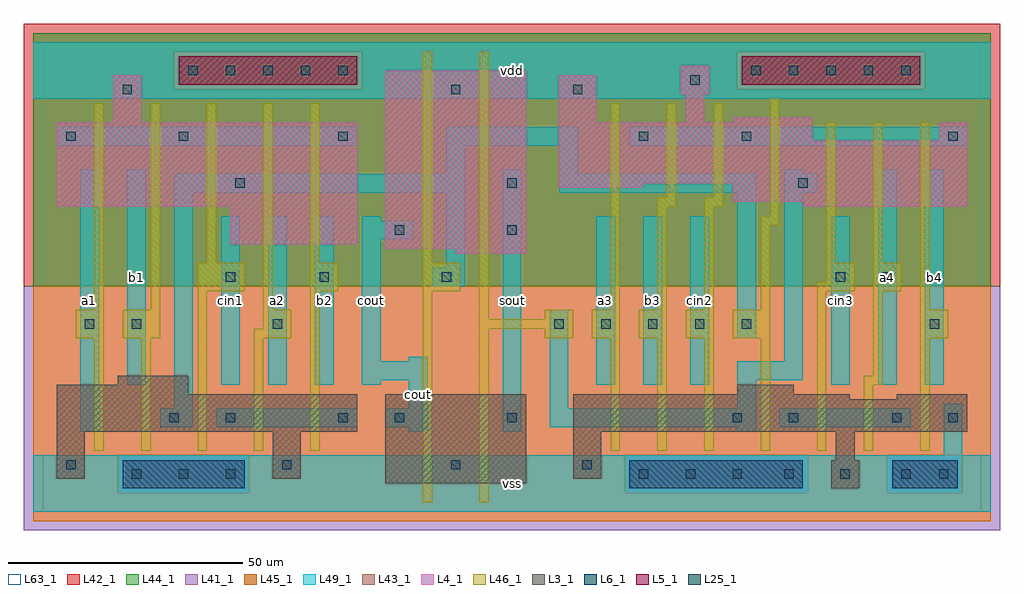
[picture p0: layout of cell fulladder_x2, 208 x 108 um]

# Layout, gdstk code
import gdstk
lib = gdstk.Library(unit=1e-6, precision=1e-09)
def R(c, l, rs):  # rectangles x0, y0, x1, y1
    for r in rs: c.add(gdstk.rectangle(r[:2], r[2:], *l))
def A(c, l, x, y, w, h, nx, ny, dx, dy):  # array of equal rectangles
    R(c, l, [(x+i*dx, y+j*dy, x+i*dx+w, y+j*dy+h) for i in range(nx) for j in range(ny)])
L3_1 = (3, 1)
L4_1 = (4, 1)
L5_1 = (5, 1)
L6_1 = (6, 1)
L25_1 = (25, 1)
L41_1 = (41, 1)
L42_1 = (42, 1)
L43_1 = (43, 1)
L44_1 = (44, 1)
L45_1 = (45, 1)
L46_1 = (46, 1)
L49_1 = (49, 1)
L63_1 = (63, 1)

fulladder_x2 = lib.new_cell('fulladder_x2')
R(fulladder_x2, L3_1, [(168,5,174,11), (73,6,103,25), (3,7,9,17), (49,7,55,17), (113,7,119,17), (169,11,173,17), (3,17,67,25), (113,17,197,24), (113,24,172,25), (182,24,197,25), (3,25,31,27), (148,25,160,27), (16,27,31,29)])
R(fulladder_x2, L4_1, [(88,55,103,56), (73,56,103,94), (40,57,67,65), (3,65,67,83), (162,65,197,66), (147,66,197,70), (110,69,128,70), (110,70,197,79), (110,79,164,83), (191,79,197,83), (15,83,21,93), (110,83,118,93), (137,83,141,89), (147,83,164,84), (136,89,142,95)])
R(fulladder_x2, L5_1, [(29,91,67,97), (149,91,187,97)])
R(fulladder_x2, L6_1, [(17,5,43,11), (17,5,43,11), (125,5,162,11), (125,5,162,11), (181,5,195,11), (181,5,195,11)])
A(fulladder_x2, L25_1, 19, 7, 2, 2, 3, 1, 10, 0)
A(fulladder_x2, L25_1, 127, 7, 2, 2, 3, 1, 10, 0)
A(fulladder_x2, L25_1, 109, 39, 2, 2, 5, 1, 10, 0)
A(fulladder_x2, L25_1, 31, 93, 2, 2, 5, 1, 8, 0)
A(fulladder_x2, L25_1, 151, 93, 2, 2, 5, 1, 8, 0)
R(fulladder_x2, L25_1, [(158,7,160,9), (170,7,172,9), (183,7,185,9), (191,7,193,9), (5,9,7,11), (51,9,53,11), (87,9,89,11), (115,9,117,11), (27,19,29,21), (39,19,41,21), (63,19,65,21), (75,19,77,21), (99,19,101,21), (147,19,149,21), (159,19,161,21), (181,19,183,21), (193,19,195,21), (9,39,11,41), (19,39,21,41), (49,39,51,41), (189,39,191,41), (39,49,41,51), (59,49,61,51), (85,49,87,51), (169,49,171,51), (179,49,181,51), (75,59,77,61), (99,59,101,61), (41,69,43,71), (99,69,101,71), (161,69,163,71), (5,79,7,81), (29,79,31,81), (63,79,65,81), (127,79,129,81), (149,79,151,81), (193,79,195,81), (17,89,19,91), (87,89,89,91), (113,89,115,91), (138,91,140,93)])
R(fulladder_x2, L41_1, [(-4,-4,204,48)])
R(fulladder_x2, L42_1, [(-4,48,204,104)])
R(fulladder_x2, L43_1, [(17,5,43,11), (125,5,162,11), (168,5,174,11), (181,5,195,11), (73,6,103,25), (3,7,9,17), (49,7,55,17), (113,7,119,17), (169,11,173,17), (3,17,67,25), (113,17,197,24), (113,24,172,25), (182,24,197,25), (3,25,31,27), (148,25,160,27), (16,27,31,29), (88,55,103,56), (73,56,103,94), (40,57,67,65), (3,65,67,83), (162,65,197,66), (147,66,197,70), (110,69,128,70), (110,70,197,79), (110,79,164,83), (191,79,197,83), (15,83,21,93), (110,83,118,93), (137,83,141,89), (147,83,164,84), (136,89,142,95), (29,91,67,97), (149,91,187,97)])
R(fulladder_x2, L44_1, [(16,4,44,12), (124,4,163,12), (180,4,196,12), (-2,48,202,90), (-2,90,28,98), (68,90,148,98), (188,90,202,98), (-2,98,202,102)])
R(fulladder_x2, L45_1, [(-2,-2,202,4), (-2,4,16,12), (44,4,124,12), (163,4,180,12), (196,4,202,12), (-2,12,202,48), (28,90,68,98), (148,90,188,98)])
A(fulladder_x2, L46_1, 121, 13, 2, 24, 3, 1, 10, 0)
A(fulladder_x2, L46_1, 117, 37, 6, 6, 3, 1, 10, 0)
R(fulladder_x2, L46_1, [(81,2,83,47), (93,2,95,39), (11,13,13,37), (21,13,23,37), (33,13,35,47), (45,13,47,37), (57,13,59,47), (153,13,155,37), (165,13,167,47), (175,13,177,27), (187,13,189,37), (175,27,179,29), (177,29,179,47), (7,37,13,43), (17,37,25,43), (45,37,53,39), (107,37,113,39), (147,37,155,43), (187,37,193,43), (47,39,53,43), (93,39,113,41), (93,41,95,98), (107,41,113,43), (11,43,13,87), (23,43,25,87), (47,43,49,87), (121,43,123,87), (131,43,133,65), (141,43,143,65), (153,43,155,61), (187,43,189,83), (33,47,43,53), (57,47,63,53), (81,47,89,53), (165,47,173,49), (177,47,183,53), (167,49,173,53), (35,53,37,87), (57,53,59,87), (81,53,83,98), (167,53,169,83), (177,53,179,83), (153,61,157,63), (155,63,157,88), (131,65,135,67), (141,65,145,67), (133,67,135,87), (143,67,145,87)])
A(fulladder_x2, L49_1, 38, 27, 4, 36, 3, 1, 10, 0)
A(fulladder_x2, L49_1, 118, 27, 4, 36, 3, 1, 10, 0)
R(fulladder_x2, L49_1, [(-2,0,202,12), (192,12,196,23), (8,17,12,73), (78,17,82,18), (98,17,102,73), (148,17,152,18), (25,18,32,22), (37,18,67,22), (73,18,82,22), (108,18,152,22), (157,18,185,22), (28,22,32,68), (78,22,82,28), (108,22,112,43), (148,22,152,28), (18,27,22,73), (68,27,72,28), (168,27,172,63), (178,27,182,73), (188,27,192,73), (68,28,82,32), (148,28,162,32), (68,32,72,58), (78,32,82,33), (158,32,162,68), (148,37,152,68), (83,48,90,52), (86,52,90,68), (68,58,79,62), (68,62,72,63), (28,68,90,72), (110,68,152,72), (158,68,165,72), (86,72,90,78), (110,72,114,78), (158,72,162,73), (3,78,67,82), (86,78,114,82), (125,78,197,82), (-2,88,202,100)])
R(fulladder_x2, L63_1, [(0,0,200,100)])
fulladder_x2.add(gdstk.Label('b1', (20,50), layer=49, texttype=1))
fulladder_x2.add(gdstk.Label('a1', (10,45), layer=49, texttype=1))
fulladder_x2.add(gdstk.Label('cin1', (40,45), layer=49, texttype=1))
fulladder_x2.add(gdstk.Label('cout', (70,45), layer=49, texttype=1))
fulladder_x2.add(gdstk.Label('a2', (50,45), layer=49, texttype=1))
fulladder_x2.add(gdstk.Label('b2', (60,45), layer=49, texttype=1))
fulladder_x2.add(gdstk.Label('vss', (100,6), layer=49, texttype=1))
fulladder_x2.add(gdstk.Label('cout', (80,25), layer=49, texttype=1))
fulladder_x2.add(gdstk.Label('sout', (100,45), layer=49, texttype=1))
fulladder_x2.add(gdstk.Label('vdd', (100,94), layer=49, texttype=1))
fulladder_x2.add(gdstk.Label('a3', (120,45), layer=49, texttype=1))
fulladder_x2.add(gdstk.Label('b3', (130,45), layer=49, texttype=1))
fulladder_x2.add(gdstk.Label('cin2', (140,45), layer=49, texttype=1))
fulladder_x2.add(gdstk.Label('cin3', (170,45), layer=49, texttype=1))
fulladder_x2.add(gdstk.Label('a4', (180,50), layer=49, texttype=1))
fulladder_x2.add(gdstk.Label('b4', (190,50), layer=49, texttype=1))

lib.write_gds('fulladder_x2.gds')
